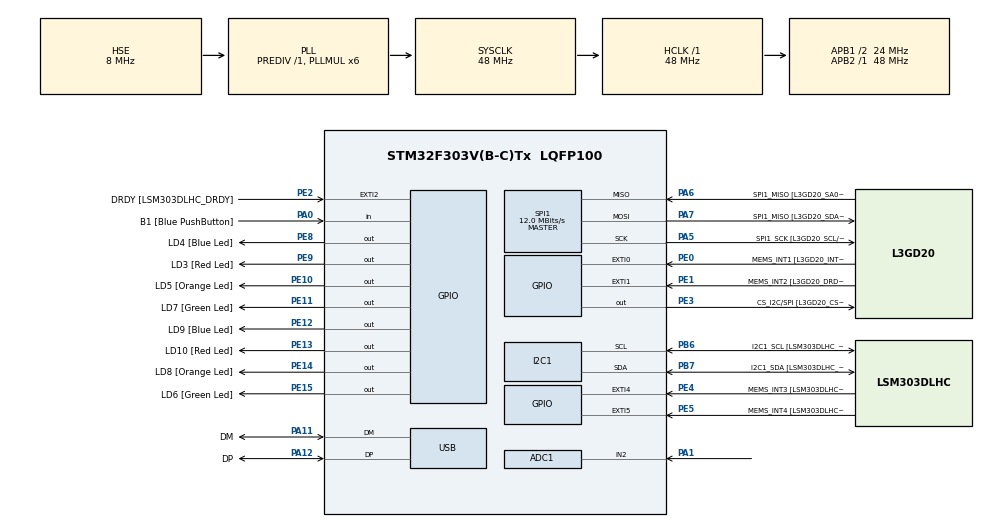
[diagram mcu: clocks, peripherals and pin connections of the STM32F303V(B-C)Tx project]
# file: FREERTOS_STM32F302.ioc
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ADC1.Channel-0\#ChannelRegularConversion=ADC_CHANNEL_2
ADC1.NbrOfConversionFlag=1
ADC1.Offset-0\#ChannelRegularConversion=0
ADC1.OffsetNumber-0\#ChannelRegularConversion=ADC_OFFSET_NONE
ADC1.Rank-0\#ChannelRegularConversion=1
ADC1.SamplingTime-0\#ChannelRegularConversion=ADC_SAMPLETIME_1CYCLE_5
ADC1.master=1
FREERTOS.Queues01=Temperature,30,int16_t,0,Dynamic,NULL,NULL;Control_Queue,16,uint32_t,0,Dynamic,NULL,NULL
FREERTOS.Tasks01=defaultTask,24,128,StartDefaultTask,Default,NULL,Dynamic,NULL,NULL;Process_Temp,8,128,Temp_Process,Default,NULL,Dynamic,NULL,NULL;Process_Control,8,128,Control_Relay,Default,NULL,Dynamic,NULL,NULL
I2C1.Timing-I2C=0x2000090E
Mcu.Family=STM32F3
Mcu.Name=STM32F303V(B-C)Tx
Mcu.Package=LQFP100
NVIC.PriorityGroup=NVIC_PRIORITYGROUP_4
NVIC.TIM1_UP_TIM16_IRQn=true\:0\:0\:false\:false\:true\:false\:false\:true
NVIC.TimeBase=TIM1_UP_TIM16_IRQn
NVIC.TimeBaseIP=TIM1
PA0.GPIO_Label=B1 [Blue PushButton]
PA0.Signal=GPIO_Input
PA1.Mode=IN2-Single-Ended
PA1.Signal=ADC1_IN2
PA11.GPIO_Label=DM
PA11.Mode=Device
PA11.Signal=USB_DM
PA12.GPIO_Label=DP
PA12.Mode=Device
PA12.Signal=USB_DP
PA13.GPIO_Label=SWDIO
PA13.Mode=Serial_Wire
PA13.Signal=SYS_JTMS-SWDIO
PA14.GPIO_Label=SWCLK
PA14.Mode=Serial_Wire
PA14.Signal=SYS_JTCK-SWCLK
PA5.GPIO_Label=SPI1_SCK [L3GD20_SCL/SPC]
PA5.Mode=Full_Duplex_Master
PA5.Signal=SPI1_SCK
PA6.GPIO_Label=SPI1_MISO [L3GD20_SA0/SDO]
PA6.Mode=Full_Duplex_Master
PA6.Signal=SPI1_MISO
PA7.GPIO_Label=SPI1_MISO [L3GD20_SDA/SDI/SDO]
PA7.Mode=Full_Duplex_Master
PA7.Signal=SPI1_MOSI
PB3.GPIO_Label=SWO
PB3.Signal=SYS_JTDO-TRACESWO
PB6.GPIO_Label=I2C1_SCL [LSM303DLHC_SCL]
PB6.Mode=I2C
PB6.Signal=I2C1_SCL
PB7.GPIO_Label=I2C1_SDA [LSM303DLHC_SDA]
PB7.Mode=I2C
PB7.Signal=I2C1_SDA
PC14-OSC32_IN.GPIO_Label=OSC32_IN
PC14-OSC32_IN.Signal=RCC_OSC32_IN
PC15-OSC32_OUT.GPIO_Label=OSC32_OUT
PC15-OSC32_OUT.Signal=RCC_OSC32_OUT
PE0.GPIO_Label=MEMS_INT1 [L3GD20_INT1]
PE0.GPIO_ModeDefaultEXTI=GPIO_MODE_EVT_RISING
PE0.Signal=GPXTI0
PE1.GPIO_Label=MEMS_INT2 [L3GD20_DRDY/INT2]
PE1.GPIO_ModeDefaultEXTI=GPIO_MODE_EVT_RISING
PE1.Signal=GPXTI1
PE10.GPIO_Label=LD5 [Orange Led]
PE10.Signal=GPIO_Output
PE11.GPIO_Label=LD7 [Green Led]
PE11.Signal=GPIO_Output
PE12.GPIO_Label=LD9 [Blue Led]
PE12.Signal=GPIO_Output
PE13.GPIO_Label=LD10 [Red Led]
PE13.Signal=GPIO_Output
PE14.GPIO_Label=LD8 [Orange Led]
PE14.Signal=GPIO_Output
PE15.GPIO_Label=LD6 [Green Led]
PE15.Signal=GPIO_Output
PE2.GPIO_Label=DRDY [LSM303DLHC_DRDY]
PE2.GPIO_ModeDefaultEXTI=GPIO_MODE_EVT_RISING
PE2.Signal=GPXTI2
PE3.GPIO_Label=CS_I2C/SPI [L3GD20_CS_I2C/SPI]
PE3.Signal=GPIO_Output
PE4.GPIO_Label=MEMS_INT3 [LSM303DLHC_INT1]
PE4.GPIO_ModeDefaultEXTI=GPIO_MODE_EVT_RISING
PE4.Signal=GPXTI4
PE5.GPIO_Label=MEMS_INT4 [LSM303DLHC_INT2]
PE5.GPIO_ModeDefaultEXTI=GPIO_MODE_EVT_RISING
PE5.Signal=GPXTI5
PE8.GPIO_Label=LD4 [Blue Led]
PE8.Signal=GPIO_Output
PE9.GPIO_Label=LD3 [Red Led]
PE9.Signal=GPIO_Output
PF0-OSC_IN.GPIO_Label=OSC_IN
PF0-OSC_IN.Mode=HSE-External-Clock-Source
PF0-OSC_IN.Signal=RCC_OSC_IN
PF1-OSC_OUT.GPIO_Label=OSC_OUT
PF1-OSC_OUT.Signal=RCC_OSC_OUT
ProjectManager.HeapSize=0x200
ProjectManager.StackSize=0x400
ProjectManager.TargetToolchain=STM32CubeIDE
RCC.AHBFreq_Value=48000000
RCC.APB1CLKDivider=RCC_HCLK_DIV2
RCC.APB1Freq_Value=24000000
RCC.APB1TimFreq_Value=48000000
RCC.APB2Freq_Value=48000000
RCC.APB2TimFreq_Value=48000000
RCC.CortexFreq_Value=48000000
RCC.HCLKFreq_Value=48000000
RCC.HSE_VALUE=8000000
RCC.HSI_VALUE=8000000
RCC.LSE_VALUE=32768
RCC.PLLMUL=RCC_PLL_MUL6
RCC.SYSCLKFreq_VALUE=48000000
RCC.SYSCLKSourceVirtual=RCC_SYSCLKSOURCE_PLLCLK
RCC.USBFreq_Value=48000000
SPI1.BaudRatePrescaler=SPI_BAUDRATEPRESCALER_4
SPI1.BaudRatePrescaler-Full_Duplex_Master=SPI_BAUDRATEPRESCALER_2
SPI1.CalculateBaudRate=12.0 MBits/s
SPI1.CalculateBaudRate-Full_Duplex_Master=24.0 MBits/s
SPI1.Direction=SPI_DIRECTION_2LINES
SPI1.Mode=SPI_MODE_MASTER
SPI1.Mode-Full_Duplex_Master=SPI_MODE_MASTER
SPI1.VirtualType=VM_MASTER
VP_FREERTOS_VS_CMSIS_V2.Mode=CMSIS_V2
VP_SYS_VS_tim1.Mode=TIM1
board=STM32F3DISCOVERY

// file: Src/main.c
/* USER CODE BEGIN Header */
/**
  ******************************************************************************
  * @file           : main.c
  * @brief          : Main program body
  ******************************************************************************
  * @attention
  *
  * <h2><center>&copy; Copyright (c) 2020 STMicroelectronics.
  * All rights reserved.</center></h2>
  *
  * This software component is licensed by ST under Ultimate Liberty license
  * SLA0044, the "License"; You may not use this file except in compliance with
  * the License. You may obtain a copy of the License at:
  *                             www.st.com/SLA0044
  *
  ******************************************************************************
  */
/* USER CODE END Header */

#include "main.h"
#include "cmsis_os.h"

ADC_HandleTypeDef hadc1;

I2C_HandleTypeDef hi2c1;

SPI_HandleTypeDef hspi1;

PCD_HandleTypeDef hpcd_USB_FS;

osThreadId_t defaultTaskHandle;
osThreadId_t Process_TempHandle;
osThreadId_t Process_ControlHandle;
osMessageQueueId_t TemperatureHandle;
osMessageQueueId_t Control_QueueHandle;

void SystemClock_Config(void);
static void MX_GPIO_Init(void);
static void MX_ADC1_Init(void);
static void MX_I2C1_Init(void);
static void MX_SPI1_Init(void);
static void MX_USB_PCD_Init(void);
void StartDefaultTask(void *argument);
void Temp_Process(void *argument);
void Control_Relay(void *argument);

int main(void)
{

  /* MCU Configuration--------------------------------------------------------*/

  /* Reset of all peripherals, Initializes the Flash interface and the Systick. */
  HAL_Init();

  /* Configure the system clock */
  SystemClock_Config();

  /* Initialize all configured peripherals */
  MX_GPIO_Init();
  MX_ADC1_Init();
  MX_I2C1_Init();
  MX_SPI1_Init();
  MX_USB_PCD_Init();

  osKernelInitialize();

  /* Create the queue(s) */
  /* definition and creation of Temperature */
  const osMessageQueueAttr_t Temperature_attributes = {
    .name = "Temperature"
  };
  TemperatureHandle = osMessageQueueNew (30, sizeof(int16_t), &Temperature_attributes);

  /* definition and creation of Control_Queue */
  const osMessageQueueAttr_t Control_Queue_attributes = {
    .name = "Control_Queue"
  };
  Control_QueueHandle = osMessageQueueNew (16, sizeof(uint32_t), &Control_Queue_attributes);

  /* Create the thread(s) */
  /* definition and creation of defaultTask */
  const osThreadAttr_t defaultTask_attributes = {
    .name = "defaultTask",
    .priority = (osPriority_t) osPriorityNormal,
    .stack_size = 128
  };
  defaultTaskHandle = osThreadNew(StartDefaultTask, NULL, &defaultTask_attributes);

  /* definition and creation of Process_Temp */
  const osThreadAttr_t Process_Temp_attributes = {
    .name = "Process_Temp",
    .priority = (osPriority_t) osPriorityLow,
    .stack_size = 128
  };
  Process_TempHandle = osThreadNew(Temp_Process, NULL, &Process_Temp_attributes);

  /* definition and creation of Process_Control */
  const osThreadAttr_t Process_Control_attributes = {
    .name = "Process_Control",
    .priority = (osPriority_t) osPriorityLow,
    .stack_size = 128
  };
  Process_ControlHandle = osThreadNew(Control_Relay, NULL, &Process_Control_attributes);

  /* Start scheduler */
  osKernelStart();

  /* We should never get here as control is now taken by the scheduler */

  /* Infinite loop */
  while (1)
  {

  }
}

void SystemClock_Config(void)
{
  RCC_OscInitTypeDef RCC_OscInitStruct = {0};
  RCC_ClkInitTypeDef RCC_ClkInitStruct = {0};
  RCC_PeriphCLKInitTypeDef PeriphClkInit = {0};

  /** Initializes the CPU, AHB and APB busses clocks
  */
  RCC_OscInitStruct.OscillatorType = RCC_OSCILLATORTYPE_HSI|RCC_OSCILLATORTYPE_HSE;
  RCC_OscInitStruct.HSEState = RCC_HSE_BYPASS;
  RCC_OscInitStruct.HSEPredivValue = RCC_HSE_PREDIV_DIV1;
  RCC_OscInitStruct.HSIState = RCC_HSI_ON;
  RCC_OscInitStruct.HSICalibrationValue = RCC_HSICALIBRATION_DEFAULT;
  RCC_OscInitStruct.PLL.PLLState = RCC_PLL_ON;
  RCC_OscInitStruct.PLL.PLLSource = RCC_PLLSOURCE_HSE;
  RCC_OscInitStruct.PLL.PLLMUL = RCC_PLL_MUL6;
  if (HAL_RCC_OscConfig(&RCC_OscInitStruct) != HAL_OK)
  {
    Error_Handler();
  }
  /** Initializes the CPU, AHB and APB busses clocks
  */
  RCC_ClkInitStruct.ClockType = RCC_CLOCKTYPE_HCLK|RCC_CLOCKTYPE_SYSCLK
                              |RCC_CLOCKTYPE_PCLK1|RCC_CLOCKTYPE_PCLK2;
  RCC_ClkInitStruct.SYSCLKSource = RCC_SYSCLKSOURCE_PLLCLK;
  RCC_ClkInitStruct.AHBCLKDivider = RCC_SYSCLK_DIV1;
  RCC_ClkInitStruct.APB1CLKDivider = RCC_HCLK_DIV2;
  RCC_ClkInitStruct.APB2CLKDivider = RCC_HCLK_DIV1;

  if (HAL_RCC_ClockConfig(&RCC_ClkInitStruct, FLASH_LATENCY_1) != HAL_OK)
  {
    Error_Handler();
  }
  PeriphClkInit.PeriphClockSelection = RCC_PERIPHCLK_USB|RCC_PERIPHCLK_I2C1
                              |RCC_PERIPHCLK_ADC12;
  PeriphClkInit.Adc12ClockSelection = RCC_ADC12PLLCLK_DIV1;
  PeriphClkInit.I2c1ClockSelection = RCC_I2C1CLKSOURCE_HSI;
  PeriphClkInit.USBClockSelection = RCC_USBCLKSOURCE_PLL;
  if (HAL_RCCEx_PeriphCLKConfig(&PeriphClkInit) != HAL_OK)
  {
    Error_Handler();
  }
}

static void MX_ADC1_Init(void)
{

  ADC_MultiModeTypeDef multimode = {0};
  ADC_ChannelConfTypeDef sConfig = {0};

  /** Common config
  */
  hadc1.Instance = ADC1;
  hadc1.Init.ClockPrescaler = ADC_CLOCK_ASYNC_DIV1;
  hadc1.Init.Resolution = ADC_RESOLUTION_12B;
  hadc1.Init.ScanConvMode = ADC_SCAN_DISABLE;
  hadc1.Init.ContinuousConvMode = DISABLE;
  hadc1.Init.DiscontinuousConvMode = DISABLE;
  hadc1.Init.ExternalTrigConvEdge = ADC_EXTERNALTRIGCONVEDGE_NONE;
  hadc1.Init.ExternalTrigConv = ADC_SOFTWARE_START;
  hadc1.Init.DataAlign = ADC_DATAALIGN_RIGHT;
  hadc1.Init.NbrOfConversion = 1;
  hadc1.Init.DMAContinuousRequests = DISABLE;
  hadc1.Init.EOCSelection = ADC_EOC_SINGLE_CONV;
  hadc1.Init.LowPowerAutoWait = DISABLE;
  hadc1.Init.Overrun = ADC_OVR_DATA_OVERWRITTEN;
  if (HAL_ADC_Init(&hadc1) != HAL_OK)
  {
    Error_Handler();
  }
  /** Configure the ADC multi-mode
  */
  multimode.Mode = ADC_MODE_INDEPENDENT;
  if (HAL_ADCEx_MultiModeConfigChannel(&hadc1, &multimode) != HAL_OK)
  {
    Error_Handler();
  }
  /** Configure Regular Channel
  */
  sConfig.Channel = ADC_CHANNEL_2;
  sConfig.Rank = ADC_REGULAR_RANK_1;
  sConfig.SingleDiff = ADC_SINGLE_ENDED;
  sConfig.SamplingTime = ADC_SAMPLETIME_1CYCLE_5;
  sConfig.OffsetNumber = ADC_OFFSET_NONE;
  sConfig.Offset = 0;
  if (HAL_ADC_ConfigChannel(&hadc1, &sConfig) != HAL_OK)
  {
    Error_Handler();
  }

}

static void MX_I2C1_Init(void)
{

  hi2c1.Instance = I2C1;
  hi2c1.Init.Timing = 0x2000090E;
  hi2c1.Init.OwnAddress1 = 0;
  hi2c1.Init.AddressingMode = I2C_ADDRESSINGMODE_7BIT;
  hi2c1.Init.DualAddressMode = I2C_DUALADDRESS_DISABLE;
  hi2c1.Init.OwnAddress2 = 0;
  hi2c1.Init.OwnAddress2Masks = I2C_OA2_NOMASK;
  hi2c1.Init.GeneralCallMode = I2C_GENERALCALL_DISABLE;
  hi2c1.Init.NoStretchMode = I2C_NOSTRETCH_DISABLE;
  if (HAL_I2C_Init(&hi2c1) != HAL_OK)
  {
    Error_Handler();
  }
  /** Configure Analogue filter
  */
  if (HAL_I2CEx_ConfigAnalogFilter(&hi2c1, I2C_ANALOGFILTER_ENABLE) != HAL_OK)
  {
    Error_Handler();
  }
  /** Configure Digital filter
  */
  if (HAL_I2CEx_ConfigDigitalFilter(&hi2c1, 0) != HAL_OK)
  {
    Error_Handler();
  }

}

static void MX_SPI1_Init(void)
{

  /* SPI1 parameter configuration*/
  hspi1.Instance = SPI1;
  hspi1.Init.Mode = SPI_MODE_MASTER;
  hspi1.Init.Direction = SPI_DIRECTION_2LINES;
  hspi1.Init.DataSize = SPI_DATASIZE_4BIT;
  hspi1.Init.CLKPolarity = SPI_POLARITY_LOW;
  hspi1.Init.CLKPhase = SPI_PHASE_1EDGE;
  hspi1.Init.NSS = SPI_NSS_SOFT;
  hspi1.Init.BaudRatePrescaler = SPI_BAUDRATEPRESCALER_4;
  hspi1.Init.FirstBit = SPI_FIRSTBIT_MSB;
  hspi1.Init.TIMode = SPI_TIMODE_DISABLE;
  hspi1.Init.CRCCalculation = SPI_CRCCALCULATION_DISABLE;
  hspi1.Init.CRCPolynomial = 7;
  hspi1.Init.CRCLength = SPI_CRC_LENGTH_DATASIZE;
  hspi1.Init.NSSPMode = SPI_NSS_PULSE_ENABLE;
  if (HAL_SPI_Init(&hspi1) != HAL_OK)
  {
    Error_Handler();
  }

}

static void MX_USB_PCD_Init(void)
{

  hpcd_USB_FS.Instance = USB;
  hpcd_USB_FS.Init.dev_endpoints = 8;
  hpcd_USB_FS.Init.speed = PCD_SPEED_FULL;
  hpcd_USB_FS.Init.phy_itface = PCD_PHY_EMBEDDED;
  hpcd_USB_FS.Init.low_power_enable = DISABLE;
  hpcd_USB_FS.Init.battery_charging_enable = DISABLE;
  if (HAL_PCD_Init(&hpcd_USB_FS) != HAL_OK)
  {
    Error_Handler();
  }

}

static void MX_GPIO_Init(void)
{
  GPIO_InitTypeDef GPIO_InitStruct = {0};

  /* GPIO Ports Clock Enable */
  __HAL_RCC_GPIOE_CLK_ENABLE();
  __HAL_RCC_GPIOC_CLK_ENABLE();
  __HAL_RCC_GPIOF_CLK_ENABLE();
  __HAL_RCC_GPIOA_CLK_ENABLE();
  __HAL_RCC_GPIOB_CLK_ENABLE();

  /*Configure GPIO pin Output Level */
  HAL_GPIO_WritePin(GPIOE, CS_I2C_SPI_Pin|LD4_Pin|LD3_Pin|LD5_Pin
                          |LD7_Pin|LD9_Pin|LD10_Pin|LD8_Pin
                          |LD6_Pin, GPIO_PIN_RESET);

  /*Configure GPIO pins : DRDY_Pin MEMS_INT3_Pin MEMS_INT4_Pin MEMS_INT1_Pin
                           MEMS_INT2_Pin */
  GPIO_InitStruct.Pin = DRDY_Pin|MEMS_INT3_Pin|MEMS_INT4_Pin|MEMS_INT1_Pin
                          |MEMS_INT2_Pin;
  GPIO_InitStruct.Mode = GPIO_MODE_EVT_RISING;
  GPIO_InitStruct.Pull = GPIO_NOPULL;
  HAL_GPIO_Init(GPIOE, &GPIO_InitStruct);

  /*Configure GPIO pins : CS_I2C_SPI_Pin LD4_Pin LD3_Pin LD5_Pin
                           LD7_Pin LD9_Pin LD10_Pin LD8_Pin
                           LD6_Pin */
  GPIO_InitStruct.Pin = CS_I2C_SPI_Pin|LD4_Pin|LD3_Pin|LD5_Pin
                          |LD7_Pin|LD9_Pin|LD10_Pin|LD8_Pin
                          |LD6_Pin;
  GPIO_InitStruct.Mode = GPIO_MODE_OUTPUT_PP;
  GPIO_InitStruct.Pull = GPIO_NOPULL;
  GPIO_InitStruct.Speed = GPIO_SPEED_FREQ_LOW;
  HAL_GPIO_Init(GPIOE, &GPIO_InitStruct);

  /*Configure GPIO pin : B1_Pin */
  GPIO_InitStruct.Pin = B1_Pin;
  GPIO_InitStruct.Mode = GPIO_MODE_INPUT;
  GPIO_InitStruct.Pull = GPIO_NOPULL;
  HAL_GPIO_Init(B1_GPIO_Port, &GPIO_InitStruct);

}

void StartDefaultTask(void *argument)
{
  for(;;)
  {
    osDelay(1);
  }
}

void Temp_Process(void *argument)
{
  /* USER CODE BEGIN Temp_Process */
  int Temp=0;
  unsigned int  Adc_value=0;
  int current_Temp=0;

  /* Infinite loop */
  for(;;)
  {
  	Adc_value =Read_ADC_Value_DMA(); // Read ADC Value from DMA

	current_Temp = Process_ADC_Value_to_Temp(Adc_value);// Process Value
  	if( Temp != current_Temp)
  	{
  	if (osMessageQueuePut(TemperatureHandle,(const void *) Temp,0, QUEUE_TIME_MAX) == osOK)                 // Send Value to queue
  	{
		osDelay(1000);
	}
	else
	{
		// say error
	}
  	}
  }
  /* USER CODE END Temp_Process */
}

void Control_Relay(void *argument)
{
  /* USER CODE BEGIN Control_Relay */

  /* Infinite loop */
	static char Config_recvd=0;
  	static char Temp_recvd=0;
  	int Current_Val=0;
	struct Limit{
  	int Low_Limit;
	int High_Limit;
  	}Temp_Limit;

  for(;;)
  {

	if (osMessageQueueGet(TemperatureHandle,( void *) &Current_Val,0,Temp_recvd==0? QUEUE_TIME_MAX:0) == osOK)                 // Get Value from Temp control
  	{
  		Temp_recvd=1;
		// do nothing
	}
	else
	{

	}

	if (osMessageQueueGet(TemperatureHandle,( void *) &Temp_Limit,0, Config_recvd==0?QUEUE_TIME_MAX:0) == osOK)                 // Get Value from UART or USB ISR through modbus
  	{
		//do nothing
		Config_recvd=1;
	}
	else
	{

	}

        // If temp> Limit switch ON . Limit is
        if(Current_Val > Temp_Limit.High_Limit  ) Switch_on_relay();
		else if(Current_Val<=Temp_Limit.Low_Limit) Switch_off_relay();

  }
  /* USER CODE END Control_Relay */
}

void HAL_TIM_PeriodElapsedCallback(TIM_HandleTypeDef *htim)
{
  if (htim->Instance == TIM1) {
    HAL_IncTick();
  }
}

void Error_Handler(void)
{
}

/************************ (C) COPYRIGHT STMicroelectronics *****END OF FILE****/
